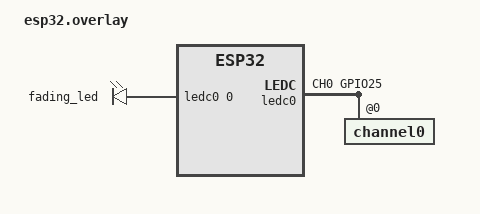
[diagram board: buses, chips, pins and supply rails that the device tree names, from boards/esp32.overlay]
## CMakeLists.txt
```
# SPDX-License-Identifier: Apache-2.0

cmake_minimum_required(VERSION 3.20.0)

find_package(Zephyr REQUIRED HINTS $ENV{ZEPHYR_BASE})
project(PWM)

target_sources(app PRIVATE src/main.c)
```

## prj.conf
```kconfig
CONFIG_NEWLIB_LIBC=y
CONFIG_STDOUT_CONSOLE=y
CONFIG_PRINTK=y
CONFIG_LOG=y
CONFIG_LOG_PRINTK=y
CONFIG_PWM=y
```

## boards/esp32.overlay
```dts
/ {
    pwmleds {
            compatible = "pwm-leds";
            fading_led: fading_led {
                pwms = <&ledc0 0 10000 PWM_POLARITY_NORMAL>;
            };
    };
};

&pinctrl {
    ledc0_default: ledc0_default{
        group1 {
            pinmux = <LEDC_CH0_GPIO25>; 
            output-enable;
        };
    };
};

&ledc0 {
    pinctrl-0 = <&ledc0_default>;
    pinctrl-names = "default";
    status = "okay";
    #address-cells = <1>;
    #size-cells = <0>; 
    channel0@0 {
        reg = <0x0>; 
        timer = <0>; 
    };
};
```

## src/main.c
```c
#include <zephyr/device.h>
#include <zephyr/devicetree.h>
#include <zephyr/kernel.h>
#include <zephyr/drivers/pwm.h>
#include <zephyr/sys/printk.h>
#include <zephyr/sys/util.h>


#define NUM_STEPS 3U
#define SLEEP_DELTA_MSEC 1000U

static const struct pwm_dt_spec fanding_led = PWM_DT_SPEC_GET(DT_NODELABEL(fanding_led)); 

static uint32_t pulse_width_delta_nsec = 0U; 
void led_delta_timer_handler(struct k_timer *timer_info){

}

K_TIMER_DEFINE(led_delta_timer, led_delta_timer_handler, NULL); 

void main(){
    if(!device_is_ready(fanding_led.dev)){
        printk("Error: PWM device %s is not ready! \n", fanding_led.dev->name);
        return; 
    }

    k_timer_start(&led_delta_timer, K_MSEC(SLEEP_DELTA_MSEC), K_MSEC(SLEEP_DELTA_MSEC)); 
}
```
